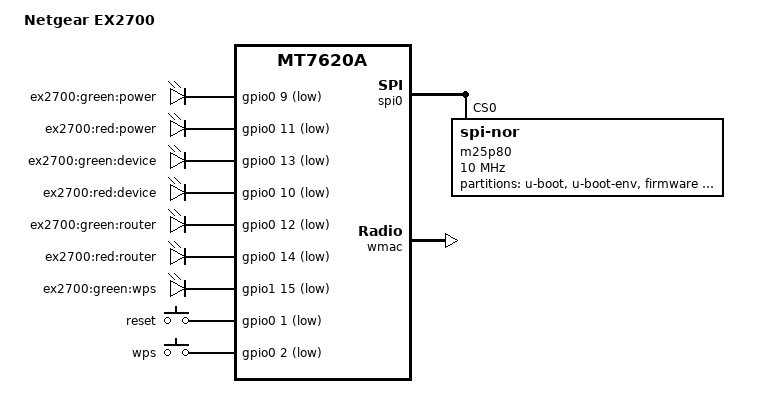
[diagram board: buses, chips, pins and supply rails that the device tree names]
/*
 * Device Tree file for the Netgear EX2700
 *
 * Copyright (C) 2016 Joseph C. Lehner <joseph.c.lehner@gmail.com>
 *
 * This file is licensed under the terms of the GNU General Public
 * License version 2.  This program is licensed "as is" without any
 * warranty of any kind, whether express or implied.
 */

/dts-v1/;

#include "mt7620a.dtsi"

/ {
	compatible = "ralink,mt7620a-soc";
	model = "Netgear EX2700";

	chosen {
		bootargs = "console=ttyS0,57600";
	};

	gpio-leds {
		compatible = "gpio-leds";

		power_g {
			label = "ex2700:green:power";
			gpios = <&gpio0 9 1>;
			default-state = "on";
		};

		power_r {
			label = "ex2700:red:power";
			gpios = <&gpio0 11 1>;
		};

		device_g {
			label = "ex2700:green:device";
			gpios = <&gpio0 13 1>;
		};

		device_r {
			label = "ex2700:red:device";
			gpios = <&gpio0 10 1>;
		};

		router_g {
			label = "ex2700:green:router";
			gpios = <&gpio0 12 1>;
		};

		router_r {
			label = "ex2700:red:router";
			gpios = <&gpio0 14 1>;
		};

		wps {
			label = "ex2700:green:wps";
			gpios = <&gpio1 15 1>;
		};
	};

	gpio-keys-polled {
		compatible = "gpio-keys-polled";
		#address-cells = <1>;
		#size-cells = <0>;
		poll-interval = <20>;

		reset {
			label = "reset";
			gpios = <&gpio0 1 1>;
			linux,code = <0x198>;
		};

		wps {
			label = "wps";
			gpios = <&gpio0 2 1>;
			linux,code = <0x211>;
		};
	};
};

&gpio0 {
	status = "okay";
};

&gpio1 {
	status = "okay";
};

&spi0 {
	status = "okay";

	m25p80@0 {
		#address-cells = <1>;
		#size-cells = <1>;
		compatible = "jedec,spi-nor";
		reg = <0>;
		linux,modalias = "m25p80", "mx25l3205d";
		spi-max-frequency = <10000000>;

		partition@0 {
			label = "u-boot";
			reg = <0x0 0x30000>;
			read-only;
		};

		partition@30000 {
			label = "u-boot-env";
			reg = <0x30000 0x10000>;
			read-only;
		};

		partition@40000 {
			label = "firmware";
			reg = <0x40000 0x3b0000>;
		};

		art: partition@3f0000 {
			label = "art";
			reg = <0x3f0000 0x10000>;
			read-only;
		};
	};
};

&ethernet {
	mtd-mac-address = <&art 0x0>;
};

&wmac {
	ralink,mtd-eeprom = <&art 0x1000>;
};

&pinctrl {
	state_default: pinctrl0 {
		default {
			//  spi refclk: pins 37, 38, 39
			//       uartf: pins 8, 9, 10, 11, 12, 13, 14
			//         i2c: pins 1, 2
			ralink,group = "i2c", "uartf", "spi refclk";
			ralink,function = "gpio";
		};
	};
};
